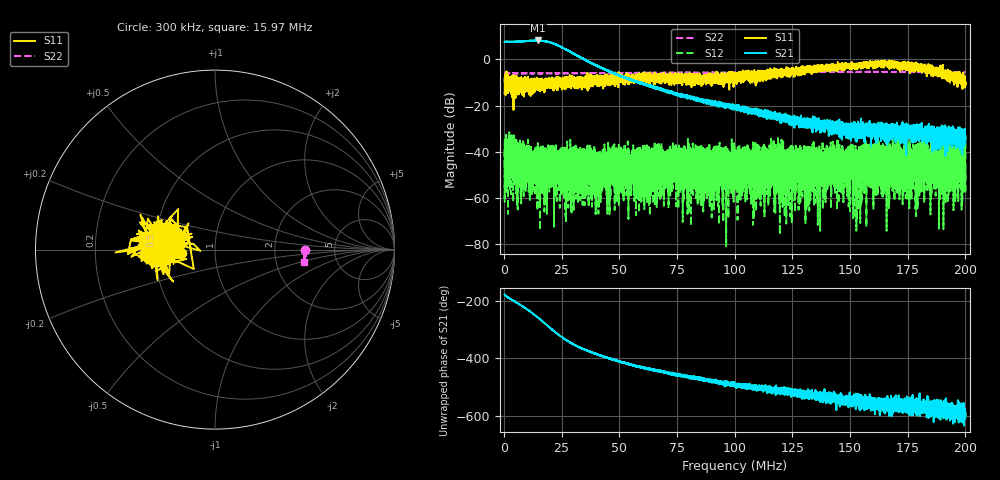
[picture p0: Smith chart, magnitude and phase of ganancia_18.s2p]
# Hz S DB R 50
! CMT, M5065, 19127446, 24.2.4/2
! Date: 10/29/2024 1:12:06 PM
! Data: Format (Calibration Info)
! Freq	S11:dB/Ang(F2)	S21:dB/Ang(F2)	S12:dB/Ang(F2)	S22:dB/Ang(F2)
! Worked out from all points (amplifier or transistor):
!   9000 points, 300 kHz to 200 MHz, reference 50 ohm
!   highest |S21| = 8.3 dB at 14.79 MHz (marker M1)
!   |S21| within 3 dB of that: start of sweep to 25.15 MHz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
!   unconditionally stable (mu >= 1): start of sweep to end of sweep
!   at 33.59 MHz: K = 60.94, MAG = 2.3 dB, |S12| = -45.7 dB
!   at 100.2 MHz: K = 335.85, MAG = -18.0 dB, |S12| = -40.7 dB
!   at 200 MHz: K = 4123.44, MAG = -32.6 dB, |S12| = -47.7 dB
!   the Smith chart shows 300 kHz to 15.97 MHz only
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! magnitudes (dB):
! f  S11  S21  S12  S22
! 300 kHz  -14.7  7.6  -39.2  -6.0
! 1.365 MHz  -10.1  7.7  -41.8  -6.0
! 14.79 MHz  -11.7  8.3  -43.4  -6.0
! 33.59 MHz  -10.4  0.6  -45.7  -5.9
! 40.36 MHz  -9.3  -2.6  -46.4  -5.9
! 46.86 MHz  -7.8  -5.6  -41.8  -5.9
! 48.92 MHz  -8.5  -6.6  -41.1  -5.8
! 52.94 MHz  -7.3  -7.9  -43.4  -5.8
! 57.11 MHz  -9.3  -9.5  -42.8  -5.8
! 66.87 MHz  -6.2  -12.9  -44.8  -5.8
! 100.2 MHz  -7.9  -20.1  -40.7  -5.7
! 122.6 MHz  -4.6  -24.8  -46.3  -5.6
! 133.4 MHz  -4.6  -27.6  -42.8  -5.4
! 135.3 MHz  -3.3  -27.8  -43.7  -5.5
! 150 MHz  -3.2  -29.8  -51.9  -5.3
! 152.1 MHz  -3.2  -29.2  -41.3  -5.3
! 162.5 MHz  -1.6  -30.9  -52.9  -5.4
! 166.7 MHz  -1.7  -29.9  -39.1  -5.4
! 174.4 MHz  -3.4  -29.5  -37.8  -5.4
! 191.5 MHz  -5.8  -35.3  -43.7  -5.5
! 194.9 MHz  -6.0  -34.7  -65.3  -5.6
! 200 MHz  -9.7  -34.5  -47.7  -5.6
